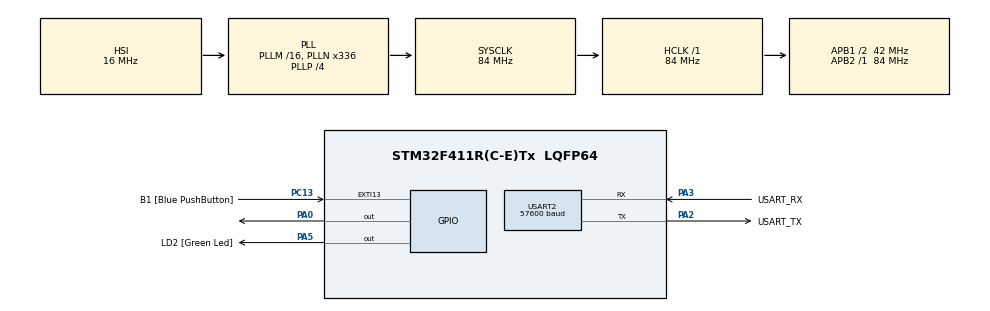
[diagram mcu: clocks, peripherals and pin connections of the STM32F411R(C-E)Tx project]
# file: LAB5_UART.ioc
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Mcu.Family=STM32F4
Mcu.Name=STM32F411R(C-E)Tx
Mcu.Package=LQFP64
NVIC.PriorityGroup=NVIC_PRIORITYGROUP_0
NVIC.TIM2_IRQn=true\:0\:0\:false\:false\:true\:true\:true\:true
NVIC.USART2_IRQn=true\:0\:0\:false\:false\:true\:true\:true\:true
PA0-WKUP.Signal=GPIO_Output
PA13.GPIO_Label=TMS
PA13.Mode=Serial_Wire
PA13.Signal=SYS_JTMS-SWDIO
PA14.GPIO_Label=TCK
PA14.Mode=Serial_Wire
PA14.Signal=SYS_JTCK-SWCLK
PA2.GPIO_Label=USART_TX
PA2.Mode=Asynchronous
PA2.Signal=USART2_TX
PA3.GPIO_Label=USART_RX
PA3.Mode=Asynchronous
PA3.Signal=USART2_RX
PA5.GPIO_Label=LD2 [Green Led]
PA5.Signal=GPIO_Output
PB3.GPIO_Label=SWO
PB3.Signal=SYS_JTDO-SWO
PC13-ANTI_TAMP.GPIO_Label=B1 [Blue PushButton]
PC13-ANTI_TAMP.GPIO_ModeDefaultEXTI=GPIO_MODE_IT_FALLING
PC13-ANTI_TAMP.Signal=GPXTI13
PC14-OSC32_IN.Mode=LSE-External-Oscillator
PC14-OSC32_IN.Signal=RCC_OSC32_IN
PC15-OSC32_OUT.Mode=LSE-External-Oscillator
PC15-OSC32_OUT.Signal=RCC_OSC32_OUT
PH0\ -\ OSC_IN.Mode=HSE-External-Clock-Source
PH0\ -\ OSC_IN.Signal=RCC_OSC_IN
PH1\ -\ OSC_OUT.Mode=HSE-External-Clock-Source
PH1\ -\ OSC_OUT.Signal=RCC_OSC_OUT
ProjectManager.HeapSize=0x200
ProjectManager.StackSize=0x400
ProjectManager.TargetToolchain=STM32CubeIDE
RCC.48MHZClocksFreq_Value=84000000
RCC.AHBFreq_Value=84000000
RCC.APB1CLKDivider=RCC_HCLK_DIV2
RCC.APB1Freq_Value=42000000
RCC.APB1TimFreq_Value=84000000
RCC.APB2Freq_Value=84000000
RCC.APB2TimFreq_Value=84000000
RCC.CortexFreq_Value=84000000
RCC.FLatency-AdvancedSettings=FLASH_LATENCY_2
RCC.HCLKFreq_Value=84000000
RCC.HSE_VALUE=8000000
RCC.HSI_VALUE=16000000
RCC.PLLN=336
RCC.PLLP=RCC_PLLP_DIV4
RCC.SYSCLKFreq_VALUE=84000000
RCC.SYSCLKSource=RCC_SYSCLKSOURCE_PLLCLK
RCC.VCOOutputFreq_Value=336000000
TIM2.Period=9999
TIM2.Prescaler=83
TIM5.Period=999999
TIM5.Prescaler=83
USART2.BaudRate=57600
USART2.VirtualMode=VM_ASYNC
VP_TIM2_VS_ClockSourceINT.Mode=Internal
VP_TIM5_VS_ClockSourceINT.Mode=Internal
board=NUCLEO-F411RE

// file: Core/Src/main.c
/* USER CODE BEGIN Header */
/**
  ******************************************************************************
  * @file           : main.c
  * @brief          : Main program body
  ******************************************************************************
  * @attention
  *
  * Copyright (c) 2023 STMicroelectronics.
  * All rights reserved.
  *
  * This software is licensed under terms that can be found in the LICENSE file
  * in the root directory of this software component.
  * If no LICENSE file comes with this software, it is provided AS-IS.
  *
  ******************************************************************************
  */
/* USER CODE END Header */
#include "main.h"

/* USER CODE BEGIN Includes */
#include "stdio.h"
#include "string.h"
/* USER CODE END Includes */

TIM_HandleTypeDef htim2;
TIM_HandleTypeDef htim5;

UART_HandleTypeDef huart2;

/* USER CODE BEGIN PV */
uint8_t text[100]= "Please Select Mode: \r\n 0: LED Control \r\n 1: Button Status \r\n";

uint8_t RxBuffer[20];
uint8_t TxBuffer[200];
uint8_t Status[100];

uint8_t mode_flag = 2;
uint16_t led_speed;
uint32_t timestamp = 0;
uint32_t timestamp_prev = 0;
uint32_t timestep = 0;
uint16_t freq = 1;
uint8_t on_off = 0;
uint8_t test;

char mode;

struct _GPIOstate
{
	GPIO_PinState current;
	GPIO_PinState last;
}Button1;

/* USER CODE END PV */

void SystemClock_Config(void);
static void MX_GPIO_Init(void);
static void MX_USART2_UART_Init(void);
static void MX_TIM5_Init(void);
static void MX_TIM2_Init(void);
/* USER CODE BEGIN PFP */
void UARTInterruptConfig();
void select_mode(mode);
void Button_Status();
/* USER CODE END PFP */

int main(void)
{

  /* MCU Configuration--------------------------------------------------------*/

  /* Reset of all peripherals, Initializes the Flash interface and the Systick. */
  HAL_Init();

  /* Configure the system clock */
  SystemClock_Config();

  /* Initialize all configured peripherals */
  MX_GPIO_Init();
  MX_USART2_UART_Init();
  MX_TIM5_Init();
  MX_TIM2_Init();
  /* USER CODE BEGIN 2 */

  HAL_UART_Transmit(&huart2, text, strlen((char*)text), 10);

  UARTInterruptConfig();

  HAL_TIM_Base_Start(&htim2);
  /* USER CODE END 2 */

  /* Infinite loop */
  while (1)
  {

    /* USER CODE BEGIN 3 */

	  if(mode_flag == 1)
	  {
		  Button_Status();
	  }

	  test = HAL_GetTick();
	  if(HAL_GetTick() > timestamp)
	  {
		  if(on_off == 1)
		  {
			  HAL_GPIO_TogglePin(GPIOA, GPIO_PIN_5);
			  		  timestamp = timestamp + timestep/(freq*2.0);
		  }
		  else if(on_off == 0)
		  {
			  HAL_GPIO_WritePin(GPIOA, GPIO_PIN_5, GPIO_PIN_RESET);
		  }
	  }

	  HAL_GPIO_TogglePin(GPIOA, GPIO_PIN_0);
  }
  /* USER CODE END 3 */
}

void SystemClock_Config(void)
{
  RCC_OscInitTypeDef RCC_OscInitStruct = {0};
  RCC_ClkInitTypeDef RCC_ClkInitStruct = {0};

  /** Configure the main internal regulator output voltage
  */
  __HAL_RCC_PWR_CLK_ENABLE();
  __HAL_PWR_VOLTAGESCALING_CONFIG(PWR_REGULATOR_VOLTAGE_SCALE1);

  /** Initializes the RCC Oscillators according to the specified parameters
  * in the RCC_OscInitTypeDef structure.
  */
  RCC_OscInitStruct.OscillatorType = RCC_OSCILLATORTYPE_HSI;
  RCC_OscInitStruct.HSIState = RCC_HSI_ON;
  RCC_OscInitStruct.HSICalibrationValue = RCC_HSICALIBRATION_DEFAULT;
  RCC_OscInitStruct.PLL.PLLState = RCC_PLL_ON;
  RCC_OscInitStruct.PLL.PLLSource = RCC_PLLSOURCE_HSI;
  RCC_OscInitStruct.PLL.PLLM = 16;
  RCC_OscInitStruct.PLL.PLLN = 336;
  RCC_OscInitStruct.PLL.PLLP = RCC_PLLP_DIV4;
  RCC_OscInitStruct.PLL.PLLQ = 4;
  if (HAL_RCC_OscConfig(&RCC_OscInitStruct) != HAL_OK)
  {
    Error_Handler();
  }

  /** Initializes the CPU, AHB and APB buses clocks
  */
  RCC_ClkInitStruct.ClockType = RCC_CLOCKTYPE_HCLK|RCC_CLOCKTYPE_SYSCLK
                              |RCC_CLOCKTYPE_PCLK1|RCC_CLOCKTYPE_PCLK2;
  RCC_ClkInitStruct.SYSCLKSource = RCC_SYSCLKSOURCE_PLLCLK;
  RCC_ClkInitStruct.AHBCLKDivider = RCC_SYSCLK_DIV1;
  RCC_ClkInitStruct.APB1CLKDivider = RCC_HCLK_DIV2;
  RCC_ClkInitStruct.APB2CLKDivider = RCC_HCLK_DIV1;

  if (HAL_RCC_ClockConfig(&RCC_ClkInitStruct, FLASH_LATENCY_2) != HAL_OK)
  {
    Error_Handler();
  }
}

static void MX_TIM2_Init(void)
{

  TIM_ClockConfigTypeDef sClockSourceConfig = {0};
  TIM_MasterConfigTypeDef sMasterConfig = {0};

  htim2.Instance = TIM2;
  htim2.Init.Prescaler = 83;
  htim2.Init.CounterMode = TIM_COUNTERMODE_UP;
  htim2.Init.Period = 9999;
  htim2.Init.ClockDivision = TIM_CLOCKDIVISION_DIV1;
  htim2.Init.AutoReloadPreload = TIM_AUTORELOAD_PRELOAD_DISABLE;
  if (HAL_TIM_Base_Init(&htim2) != HAL_OK)
  {
    Error_Handler();
  }
  sClockSourceConfig.ClockSource = TIM_CLOCKSOURCE_INTERNAL;
  if (HAL_TIM_ConfigClockSource(&htim2, &sClockSourceConfig) != HAL_OK)
  {
    Error_Handler();
  }
  sMasterConfig.MasterOutputTrigger = TIM_TRGO_RESET;
  sMasterConfig.MasterSlaveMode = TIM_MASTERSLAVEMODE_DISABLE;
  if (HAL_TIMEx_MasterConfigSynchronization(&htim2, &sMasterConfig) != HAL_OK)
  {
    Error_Handler();
  }

}

static void MX_TIM5_Init(void)
{

  TIM_ClockConfigTypeDef sClockSourceConfig = {0};
  TIM_MasterConfigTypeDef sMasterConfig = {0};

  htim5.Instance = TIM5;
  htim5.Init.Prescaler = 83;
  htim5.Init.CounterMode = TIM_COUNTERMODE_UP;
  htim5.Init.Period = 999999;
  htim5.Init.ClockDivision = TIM_CLOCKDIVISION_DIV1;
  htim5.Init.AutoReloadPreload = TIM_AUTORELOAD_PRELOAD_DISABLE;
  if (HAL_TIM_Base_Init(&htim5) != HAL_OK)
  {
    Error_Handler();
  }
  sClockSourceConfig.ClockSource = TIM_CLOCKSOURCE_INTERNAL;
  if (HAL_TIM_ConfigClockSource(&htim5, &sClockSourceConfig) != HAL_OK)
  {
    Error_Handler();
  }
  sMasterConfig.MasterOutputTrigger = TIM_TRGO_RESET;
  sMasterConfig.MasterSlaveMode = TIM_MASTERSLAVEMODE_DISABLE;
  if (HAL_TIMEx_MasterConfigSynchronization(&htim5, &sMasterConfig) != HAL_OK)
  {
    Error_Handler();
  }

}

static void MX_USART2_UART_Init(void)
{

  huart2.Instance = USART2;
  huart2.Init.BaudRate = 57600;
  huart2.Init.WordLength = UART_WORDLENGTH_8B;
  huart2.Init.StopBits = UART_STOPBITS_1;
  huart2.Init.Parity = UART_PARITY_NONE;
  huart2.Init.Mode = UART_MODE_TX_RX;
  huart2.Init.HwFlowCtl = UART_HWCONTROL_NONE;
  huart2.Init.OverSampling = UART_OVERSAMPLING_16;
  if (HAL_UART_Init(&huart2) != HAL_OK)
  {
    Error_Handler();
  }

}

static void MX_GPIO_Init(void)
{
  GPIO_InitTypeDef GPIO_InitStruct = {0};

  /* GPIO Ports Clock Enable */
  __HAL_RCC_GPIOC_CLK_ENABLE();
  __HAL_RCC_GPIOH_CLK_ENABLE();
  __HAL_RCC_GPIOA_CLK_ENABLE();
  __HAL_RCC_GPIOB_CLK_ENABLE();

  /*Configure GPIO pin Output Level */
  HAL_GPIO_WritePin(GPIOA, GPIO_PIN_0|LD2_Pin, GPIO_PIN_RESET);

  /*Configure GPIO pin : B1_Pin */
  GPIO_InitStruct.Pin = B1_Pin;
  GPIO_InitStruct.Mode = GPIO_MODE_IT_FALLING;
  GPIO_InitStruct.Pull = GPIO_NOPULL;
  HAL_GPIO_Init(B1_GPIO_Port, &GPIO_InitStruct);

  /*Configure GPIO pins : PA0 LD2_Pin */
  GPIO_InitStruct.Pin = GPIO_PIN_0|LD2_Pin;
  GPIO_InitStruct.Mode = GPIO_MODE_OUTPUT_PP;
  GPIO_InitStruct.Pull = GPIO_NOPULL;
  GPIO_InitStruct.Speed = GPIO_SPEED_FREQ_LOW;
  HAL_GPIO_Init(GPIOA, &GPIO_InitStruct);

}

/* USER CODE BEGIN 4 */
void UARTInterruptConfig()
{
	HAL_UART_Receive_IT(&huart2, RxBuffer, 1);
}

void HAL_UART_RxCpltCallback(UART_HandleTypeDef *huart)
{
	if(huart == &huart2)
	{
		RxBuffer[1] = '\0';

		if(RxBuffer[0] == '0' || RxBuffer[0] == 'a' || RxBuffer[0] == 's' || RxBuffer[0] == 'd' || RxBuffer[0] == 'x' || RxBuffer[0] == '1')
		{
			select_mode(RxBuffer[0]);
		}
		else select_mode('e');

		HAL_UART_Receive_IT(&huart2, RxBuffer, 1);
	}
}

//void HAL_TIM_PeriodElapsedCallback(TIM_HandleTypeDef *htim)
//{
//    if (htim == &htim2)
//        {
//        HAL_GPIO_TogglePin(GPIOA, GPIO_PIN_5);
//        test++;
//        }
//}

void select_mode(mode)
{
	switch(mode){

	case '0':
		if(mode_flag == 2)
		{
			sprintf((char*)TxBuffer,"Mode_0:LED CONTROL\r\n  Please Select Option\r\n   a:Speed Up +1Hz\r\n   s:Speed Down -1Hz\r\n   d:On/off\r\n   x:back\r\n");
			HAL_UART_Transmit_IT(&huart2, TxBuffer, strlen((char*)TxBuffer));
			mode_flag = 0;
		}
		else if(mode_flag == 0)
		{
			sprintf((char*)TxBuffer,"!!!Error: %s is not functional in this Mode!!! \r\nMode_0:LED CONTROL\r\n  Please Select Option\r\n   a:Speed Up +1Hz\r\n   s:Speed Down -1Hz\r\n   d:On/off\r\n   x:back\r\n",RxBuffer);
			HAL_UART_Transmit_IT(&huart2, TxBuffer, strlen((char*)TxBuffer));
		}
		else if(mode_flag == 1)
		{
			sprintf((char*)TxBuffer,"!!!Error: %s is not functional in this Mode!!! \r\nMode_1:Button Status\r\n Please Press or Unpress Button\r\n  x:back\r\n",RxBuffer);
			HAL_UART_Transmit_IT(&huart2, TxBuffer, strlen((char*)TxBuffer));
		}
		break;

	case 'a':
		if(mode_flag == 0)
		{
			if(freq < 65535)
			{
				freq++;
			}
			sprintf((char*)TxBuffer,"---LED Speed: %d Hz---\r\nMode_0:LED CONTROL\r\n  Please Select Option\r\n   a:Speed Up +1Hz\r\n   s:Speed Down -1Hz\r\n   d:On/off\r\n   x:back\r\n",freq);
			HAL_UART_Transmit_IT(&huart2, TxBuffer, strlen((char*)TxBuffer));
		}
		else if(mode_flag == 1)
		{
			sprintf((char*)TxBuffer,"!!!Error: %s is not functional in this Mode!!! \r\nMode_1:Button Status\r\n Please Press or Unpress Button\r\n  x:back\r\n",RxBuffer);
			HAL_UART_Transmit_IT(&huart2, TxBuffer, strlen((char*)TxBuffer));
		}
		else
		{
			sprintf((char*)TxBuffer,"!!!Error: %s is not functional in this Mode!!! \r\nPlease Select Mode: \r\n 0: LED Control \r\n 1: Button Status \r\n",RxBuffer);
			HAL_UART_Transmit_IT(&huart2, TxBuffer, strlen((char*)TxBuffer));
		}
		break;
	case 's':
		if(mode_flag == 0)
		{
			if(freq > 1)
			{
				freq--;
			}
			sprintf((char*)TxBuffer,"---LED Speed: %d Hz---\r\nMode_0:LED CONTROL\r\n  Please Select Option\r\n   a:Speed Up +1Hz\r\n   s:Speed Down -1Hz\r\n   d:On/off\r\n   x:back\r\n",freq);
			HAL_UART_Transmit_IT(&huart2, TxBuffer, strlen((char*)TxBuffer));
		}
		else if(mode_flag == 1)
		{
			sprintf((char*)TxBuffer,"!!!Error: %s is not functional in this Mode!!! \r\nMode_1:Button Status\r\n Please Press or Unpress Button\r\n  x:back\r\n",RxBuffer);
			HAL_UART_Transmit_IT(&huart2, TxBuffer, strlen((char*)TxBuffer));
		}
		else
		{
			sprintf((char*)TxBuffer,"!!!Error: %s is not functional in this Mode!!! \r\nPlease Select Mode: \r\n 0: LED Control \r\n 1: Button Status \r\n",RxBuffer);
			HAL_UART_Transmit_IT(&huart2, TxBuffer, strlen((char*)TxBuffer));
		}
		break;
	case 'd':
		if(mode_flag == 0)
		{
			if(on_off == 0)
			{
				sprintf((char*)TxBuffer,"---LED Status: On---\r\nMode_0:LED CONTROL\r\n  Please Select Option\r\n   a:Speed Up +1Hz\r\n   s:Speed Down -1Hz\r\n   d:On/off\r\n   x:back\r\n");
				timestep = 1000;
				on_off = 1;
			}
			else
			{
				sprintf((char*)TxBuffer,"---LED Status: Off---\r\nMode_0:LED CONTROL\r\n  Please Select Option\r\n   a:Speed Up +1Hz\r\n   s:Speed Down -1Hz\r\n   d:On/off\r\n   x:back\r\n");
				timestep = 0;
				on_off = 0;
			}
			HAL_UART_Transmit_IT(&huart2, TxBuffer, strlen((char*)TxBuffer));
			break;
		}
		else if(mode_flag == 1)
		{
			sprintf((char*)TxBuffer,"!!!Error: %s is not functional in this Mode!!! \r\nMode_1:Button Status\r\n Please Press or Unpress Button\r\n  x:back\r\n",RxBuffer);
			HAL_UART_Transmit_IT(&huart2, TxBuffer, strlen((char*)TxBuffer));
		}
		else
		{
			sprintf((char*)TxBuffer,"!!!Error: %s is not functional in this Mode!!! \r\nPlease Select Mode: \r\n 0: LED Control \r\n 1: Button Status \r\n",RxBuffer);
			HAL_UART_Transmit_IT(&huart2, TxBuffer, strlen((char*)TxBuffer));
		}
		break;
	case 'x':
		if(mode_flag == 0 || mode_flag == 1)
		{
//			sprintf((char*)TxBuffer,"Previous to Menu \r\n");
//			HAL_UART_Transmit_IT(&huart2, TxBuffer, strlen((char*)TxBuffer));

			HAL_UART_Transmit(&huart2, text, strlen((char*)text), 10);
			mode_flag = 2;
		}
		else
		{
			sprintf((char*)TxBuffer,"!!!Error: %s is not functional in this Mode!!! \r\nPlease Select Mode: \r\n 0: LED Control \r\n 1: Button Status \r\n",RxBuffer);
			HAL_UART_Transmit_IT(&huart2, TxBuffer, strlen((char*)TxBuffer));
		}
		break;

	case '1':
		if(mode_flag == 2)
		{
			sprintf((char*)TxBuffer,"Mode_1:Button Status\r\n Please Press or Unpress Button\r\n  x:back\r\n");
			HAL_UART_Transmit_IT(&huart2, TxBuffer, strlen((char*)TxBuffer));
			mode_flag = 1;
		}
		else if(mode_flag == 0)
		{
			sprintf((char*)TxBuffer,"!!!Error: %s is not functional in this Mode!!! \r\nMode_0:LED CONTROL\r\n  Please Select Option\r\n   a:Speed Up +1Hz\r\n   s:Speed Down -1Hz\r\n   d:On/off\r\n   x:back\r\n",RxBuffer);
			HAL_UART_Transmit_IT(&huart2, TxBuffer, strlen((char*)TxBuffer));
		}
		else if(mode_flag == 1)
		{
			sprintf((char*)TxBuffer,"!!!Error: %s is not functional in this Mode!!! \r\nMode_1:Button Status\r\n Please Press or Unpress Button\r\n  x:back\r\n",RxBuffer);
			HAL_UART_Transmit_IT(&huart2, TxBuffer, strlen((char*)TxBuffer));
		}
		break;

	case 'e':

		if(mode_flag == 0)
		{
			sprintf((char*)TxBuffer,"!!!Error: %s is not functional in this Mode!!! \r\nMode_0:LED CONTROL\r\n  Please Select Option\r\n   a:Speed Up +1Hz\r\n   s:Speed Down -1Hz\r\n   d:On/off\r\n   x:back\r\n",RxBuffer);
			HAL_UART_Transmit_IT(&huart2, TxBuffer, strlen((char*)TxBuffer));
		}
		else if(mode_flag == 1)
		{
			sprintf((char*)TxBuffer,"!!!Error: %s is not functional in this Mode!!! \r\nMode_1:Button Status\r\n Please Press or Unpress Button\r\n  x:back\r\n",RxBuffer);
			HAL_UART_Transmit_IT(&huart2, TxBuffer, strlen((char*)TxBuffer));
		}
		else
		{
			sprintf((char*)TxBuffer,"!!!Error: %s is not functional in this Mode!!! \r\nPlease Select Mode: \r\n 0: LED Control \r\n 1: Button Status \r\n",RxBuffer);
			HAL_UART_Transmit_IT(&huart2, TxBuffer, strlen((char*)TxBuffer));
		}
		break;

	}

}

void Button_Status()
{
	Button1.current = HAL_GPIO_ReadPin(GPIOC, GPIO_PIN_13);

	if(Button1.current == 0 && Button1.last == 1)
	{
		uint8_t ButtonState[10]= "Press";
		sprintf((char*)Status,"---Button Status: %s---\r\nMode_1:Button Status\r\n Please Press or Unpress Button\r\n  x:back\r\n",ButtonState);
		HAL_UART_Transmit_IT(&huart2, Status, strlen((char*)Status));
	}
	else if(Button1.current == 1 && Button1.last == 0)
	{
		uint8_t ButtonState[10]= "Unpress";
		sprintf((char*)Status,"---Button Status: %s---\r\nMode_1:Button Status\r\n Please Press or Unpress Button\r\n  x:back\r\n",ButtonState);
		HAL_UART_Transmit_IT(&huart2, Status, strlen((char*)Status));
	}
	Button1.last = Button1.current;
}

/* USER CODE END 4 */

void Error_Handler(void)
{
  __disable_irq();
  while (1)
  {
  }
}
